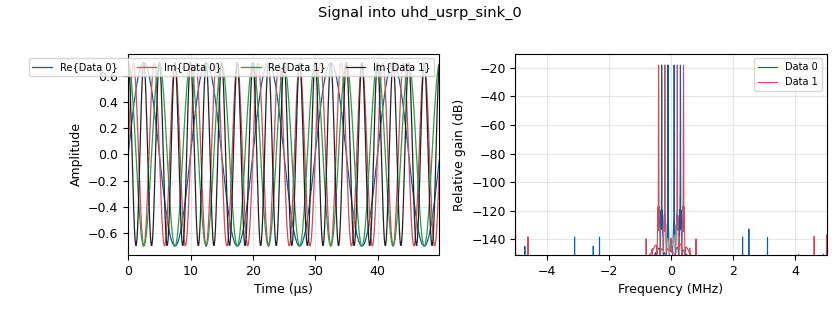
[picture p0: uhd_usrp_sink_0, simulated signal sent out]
<?xml version='1.0' encoding='utf-8'?>
<?grc format='1' created='3.7.10'?>
<flow_graph>
<block>
<key>options</key>
<param><key>id</key><value>Sine_4TX</value></param>
<param><key>author</key><value>Jamesy Jean-Michel</value></param>
<param><key>category</key><value>Custom</value></param>
<param><key>description</key><value>This is to TX 4 sine waves fo different frequencies via the 4 CREE luminaires in the SLURP light cage</value></param>
<param><key>generate_options</key><value>qt_gui</value></param>
<param><key>title</key><value>VLP MS Project</value></param>
</block>
<block>
<key>variable_qtgui_range</key>
<param><key>id</key><value>TX0_AMPL</value></param>
<param><key>value</key><value>0.7</value></param>
<param><key>gui_hint</key><value>qtgui_tab_widget_0@0</value></param>
<param><key>label</key><value>TX0 Amplitude</value></param>
<param><key>min_len</key><value>100</value></param>
<param><key>orient</key><value>Qt.Horizontal</value></param>
<param><key>start</key><value>0</value></param>
<param><key>step</key><value>0.01</value></param>
<param><key>stop</key><value>1.0</value></param>
</block>
<block>
<key>variable_qtgui_range</key>
<param><key>id</key><value>TX0_FREQ</value></param>
<param><key>value</key><value>100e3</value></param>
<param><key>gui_hint</key><value>qtgui_tab_widget_0@0</value></param>
<param><key>label</key><value>TX0 Frequency</value></param>
<param><key>orient</key><value>Qt.Horizontal</value></param>
<param><key>start</key><value>10e3</value></param>
<param><key>step</key><value>10e3</value></param>
<param><key>stop</key><value>10e6</value></param>
</block>
<block>
<key>variable_qtgui_range</key>
<param><key>id</key><value>TX1_AMPL</value></param>
<param><key>value</key><value>0.7</value></param>
<param><key>gui_hint</key><value>qtgui_tab_widget_0@1</value></param>
<param><key>label</key><value>TX1 Amplitude</value></param>
<param><key>min_len</key><value>100</value></param>
<param><key>orient</key><value>Qt.Horizontal</value></param>
<param><key>start</key><value>0</value></param>
<param><key>step</key><value>0.01</value></param>
<param><key>stop</key><value>1.0</value></param>
</block>
<block>
<key>variable_qtgui_range</key>
<param><key>id</key><value>TX1_FREQ</value></param>
<param><key>value</key><value>300e3</value></param>
<param><key>gui_hint</key><value>qtgui_tab_widget_0@1</value></param>
<param><key>label</key><value>TX1 Frequency</value></param>
<param><key>orient</key><value>Qt.Horizontal</value></param>
<param><key>start</key><value>10e3</value></param>
<param><key>step</key><value>10e3</value></param>
<param><key>stop</key><value>10e6</value></param>
</block>
<block>
<key>variable_qtgui_range</key>
<param><key>id</key><value>TX2_AMPL</value></param>
<param><key>value</key><value>0.7</value></param>
<param><key>gui_hint</key><value>qtgui_tab_widget_0@2</value></param>
<param><key>label</key><value>TX2 Amplitude</value></param>
<param><key>min_len</key><value>100</value></param>
<param><key>orient</key><value>Qt.Horizontal</value></param>
<param><key>start</key><value>0</value></param>
<param><key>step</key><value>0.01</value></param>
<param><key>stop</key><value>1.0</value></param>
</block>
<block>
<key>variable_qtgui_range</key>
<param><key>id</key><value>TX2_FREQ</value></param>
<param><key>value</key><value>200e3</value></param>
<param><key>gui_hint</key><value>qtgui_tab_widget_0@2</value></param>
<param><key>label</key><value>TX2 Frequency</value></param>
<param><key>orient</key><value>Qt.Horizontal</value></param>
<param><key>start</key><value>10e3</value></param>
<param><key>step</key><value>10e3</value></param>
<param><key>stop</key><value>10e6</value></param>
</block>
<block>
<key>variable_qtgui_range</key>
<param><key>id</key><value>TX3_AMPL</value></param>
<param><key>value</key><value>0.7</value></param>
<param><key>gui_hint</key><value>qtgui_tab_widget_0@3</value></param>
<param><key>label</key><value>TX3 Amplitude</value></param>
<param><key>min_len</key><value>100</value></param>
<param><key>orient</key><value>Qt.Horizontal</value></param>
<param><key>start</key><value>0</value></param>
<param><key>step</key><value>0.01</value></param>
<param><key>stop</key><value>1.0</value></param>
</block>
<block>
<key>variable_qtgui_range</key>
<param><key>id</key><value>TX3_FREQ</value></param>
<param><key>value</key><value>400e3</value></param>
<param><key>gui_hint</key><value>qtgui_tab_widget_0@3</value></param>
<param><key>label</key><value>TX3 Frequency</value></param>
<param><key>orient</key><value>Qt.Horizontal</value></param>
<param><key>start</key><value>10e3</value></param>
<param><key>step</key><value>10e3</value></param>
<param><key>stop</key><value>10e6</value></param>
</block>
<block>
<key>variable</key>
<param><key>id</key><value>samp_rate</value></param>
<param><key>value</key><value>10e6</value></param>
</block>
<block>
<key>analog_sig_source_x</key>
<param><key>id</key><value>analog_sig_source_x_0</value></param>
<param><key>amp</key><value>TX0_AMPL</value></param>
<param><key>freq</key><value>TX0_FREQ</value></param>
<param><key>offset</key><value>0</value></param>
<param><key>type</key><value>float</value></param>
<param><key>samp_rate</key><value>samp_rate</value></param>
<param><key>waveform</key><value>analog.GR_SIN_WAVE</value></param>
</block>
<block>
<key>analog_sig_source_x</key>
<param><key>id</key><value>analog_sig_source_x_1</value></param>
<param><key>amp</key><value>TX1_AMPL</value></param>
<param><key>freq</key><value>TX1_FREQ</value></param>
<param><key>offset</key><value>0</value></param>
<param><key>type</key><value>float</value></param>
<param><key>samp_rate</key><value>samp_rate</value></param>
<param><key>waveform</key><value>analog.GR_SIN_WAVE</value></param>
</block>
<block>
<key>analog_sig_source_x</key>
<param><key>id</key><value>analog_sig_source_x_2</value></param>
<param><key>amp</key><value>TX2_AMPL</value></param>
<param><key>freq</key><value>TX2_FREQ</value></param>
<param><key>offset</key><value>0</value></param>
<param><key>type</key><value>float</value></param>
<param><key>samp_rate</key><value>samp_rate</value></param>
<param><key>waveform</key><value>analog.GR_COS_WAVE</value></param>
</block>
<block>
<key>analog_sig_source_x</key>
<param><key>id</key><value>analog_sig_source_x_3</value></param>
<param><key>amp</key><value>TX3_AMPL</value></param>
<param><key>freq</key><value>TX3_FREQ</value></param>
<param><key>offset</key><value>0</value></param>
<param><key>type</key><value>float</value></param>
<param><key>samp_rate</key><value>samp_rate</value></param>
<param><key>waveform</key><value>analog.GR_COS_WAVE</value></param>
</block>
<block>
<key>blocks_float_to_complex</key>
<param><key>id</key><value>blocks_float_to_complex_0</value></param>
</block>
<block>
<key>blocks_float_to_complex</key>
<param><key>id</key><value>blocks_float_to_complex_1</value></param>
</block>
<block>
<key>qtgui_freq_sink_x</key>
<param><key>id</key><value>qtgui_freq_sink_x_0</value></param>
<param><key>bw</key><value>samp_rate</value></param>
<param><key>fc</key><value>0</value></param>
<param><key>ctrlpanel</key><value>True</value></param>
<param><key>_enabled</key><value>0</value></param>
<param><key>fftsize</key><value>1024</value></param>
<param><key>grid</key><value>True</value></param>
<param><key>label2</key><value></value></param>
<param><key>nconnections</key><value>2</value></param>
<param><key>showports</key><value>True</value></param>
<param><key>type</key><value>complex</value></param>
<param><key>wintype</key><value>firdes.WIN_BLACKMAN_hARRIS</value></param>
<param><key>ymax</key><value>0</value></param>
<param><key>ymin</key><value>-200</value></param>
</block>
<block>
<key>qtgui_tab_widget</key>
<param><key>id</key><value>qtgui_tab_widget_0</value></param>
<param><key>label0</key><value>TX0</value></param>
<param><key>label1</key><value>TX1</value></param>
<param><key>label2</key><value>TX2</value></param>
<param><key>label3</key><value>TX3</value></param>
<param><key>num_tabs</key><value>4</value></param>
</block>
<block>
<key>qtgui_time_sink_x</key>
<param><key>id</key><value>qtgui_time_sink_x_0</value></param>
<param><key>_enabled</key><value>0</value></param>
<param><key>color1</key><value>"blue"</value></param>
<param><key>label1</key><value></value></param>
<param><key>color2</key><value>"red"</value></param>
<param><key>label2</key><value></value></param>
<param><key>color3</key><value>"green"</value></param>
<param><key>label3</key><value></value></param>
<param><key>color4</key><value>"black"</value></param>
<param><key>label4</key><value></value></param>
<param><key>nconnections</key><value>2</value></param>
<param><key>size</key><value>1024</value></param>
<param><key>srate</key><value>samp_rate</value></param>
<param><key>type</key><value>complex</value></param>
</block>
<block>
<key>uhd_usrp_sink</key>
<param><key>id</key><value>uhd_usrp_sink_0</value></param>
<param><key>ant0</key><value></value></param>
<param><key>center_freq0</key><value>0</value></param>
<param><key>norm_gain0</key><value>False</value></param>
<param><key>gain0</key><value>0</value></param>
<param><key>ant1</key><value></value></param>
<param><key>center_freq1</key><value>0</value></param>
<param><key>norm_gain1</key><value>False</value></param>
<param><key>gain1</key><value>0</value></param>
<param><key>clock_rate</key><value>0.0</value></param>
<param><key>dev_args</key><value>""</value></param>
<param><key>type</key><value>fc32</value></param>
<param><key>nchan</key><value>2</value></param>
<param><key>samp_rate</key><value>samp_rate</value></param>
<param><key>hide_cmd_port</key><value>False</value></param>
<param><key>sync</key><value></value></param>
<param><key>len_tag_name</key><value></value></param>
</block>
<connection><source_block_id>analog_sig_source_x_0</source_block_id><sink_block_id>blocks_float_to_complex_0</sink_block_id><source_key>0</source_key><sink_key>0</sink_key></connection>
<connection><source_block_id>analog_sig_source_x_1</source_block_id><sink_block_id>blocks_float_to_complex_0</sink_block_id><source_key>0</source_key><sink_key>1</sink_key></connection>
<connection><source_block_id>analog_sig_source_x_2</source_block_id><sink_block_id>blocks_float_to_complex_1</sink_block_id><source_key>0</source_key><sink_key>0</sink_key></connection>
<connection><source_block_id>analog_sig_source_x_3</source_block_id><sink_block_id>blocks_float_to_complex_1</sink_block_id><source_key>0</source_key><sink_key>1</sink_key></connection>
<connection><source_block_id>blocks_float_to_complex_0</source_block_id><sink_block_id>qtgui_freq_sink_x_0</sink_block_id><source_key>0</source_key><sink_key>0</sink_key></connection>
<connection><source_block_id>blocks_float_to_complex_0</source_block_id><sink_block_id>qtgui_time_sink_x_0</sink_block_id><source_key>0</source_key><sink_key>0</sink_key></connection>
<connection><source_block_id>blocks_float_to_complex_0</source_block_id><sink_block_id>uhd_usrp_sink_0</sink_block_id><source_key>0</source_key><sink_key>0</sink_key></connection>
<connection><source_block_id>blocks_float_to_complex_1</source_block_id><sink_block_id>qtgui_freq_sink_x_0</sink_block_id><source_key>0</source_key><sink_key>1</sink_key></connection>
<connection><source_block_id>blocks_float_to_complex_1</source_block_id><sink_block_id>qtgui_time_sink_x_0</sink_block_id><source_key>0</source_key><sink_key>1</sink_key></connection>
<connection><source_block_id>blocks_float_to_complex_1</source_block_id><sink_block_id>uhd_usrp_sink_0</sink_block_id><source_key>0</source_key><sink_key>1</sink_key></connection>
</flow_graph>
